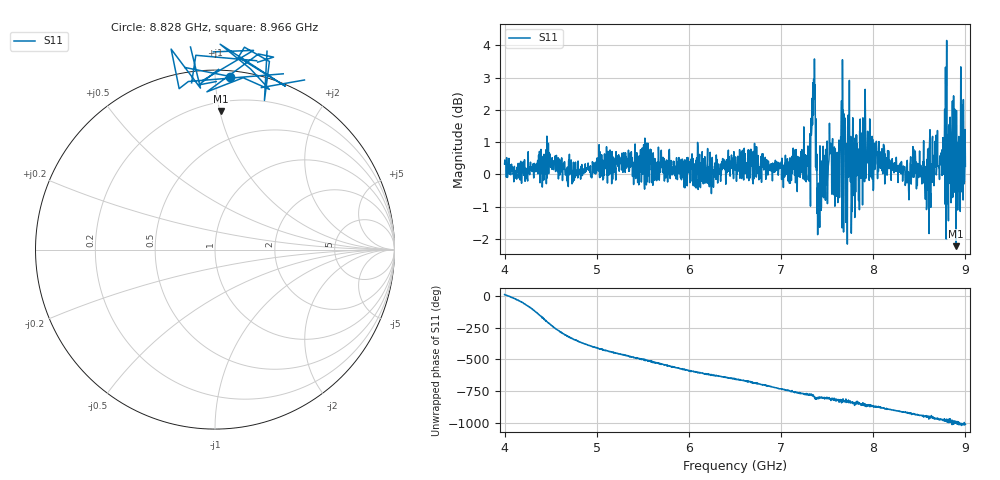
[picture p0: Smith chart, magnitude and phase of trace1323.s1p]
! Created with skrf 1.8.0 (http://scikit-rf.org).
# Hz S RI R 50.0
!freq ReS11 ImS11
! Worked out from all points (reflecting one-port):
!   1601 points, 4 GHz to 9 GHz, reference 50 ohm
!   lowest |S11| = -2.2 dB at 8.9 GHz (marker M1), VSWR 7.83, Z = 13.1 + j50.5 ohm
!   phase of S11 starts at 9 deg and turns -1017 deg over the sweep
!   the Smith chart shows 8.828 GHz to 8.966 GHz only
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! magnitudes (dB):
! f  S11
! 4 GHz  0.3
! 4.625 GHz  0.1
! 5.25 GHz  0.3
! 5.875 GHz  -0.2
! 6.5 GHz  0.2
! 7.125 GHz  0.3
! 7.294 GHz  0.4
! 7.347 GHz  2.8
! 7.362 GHz  3.6
! 7.394 GHz  -0.4
! 7.412 GHz  -0.8
! 7.534 GHz  1.0
! 7.609 GHz  0.7
! 7.672 GHz  1.6
! 7.697 GHz  1.5
! 7.75 GHz  0.3
! 7.784 GHz  -0.3
! 7.8 GHz  -1.3
! 7.938 GHz  1.3
! 7.981 GHz  -0.1
! 8.375 GHz  -0.2
! 8.441 GHz  -0.1
! 8.581 GHz  -1.0
! 8.775 GHz  2.0
! 8.9 GHz  -2.2
! 8.919 GHz  -0.3
! 8.959 GHz  2.2
! 9 GHz  0.2
